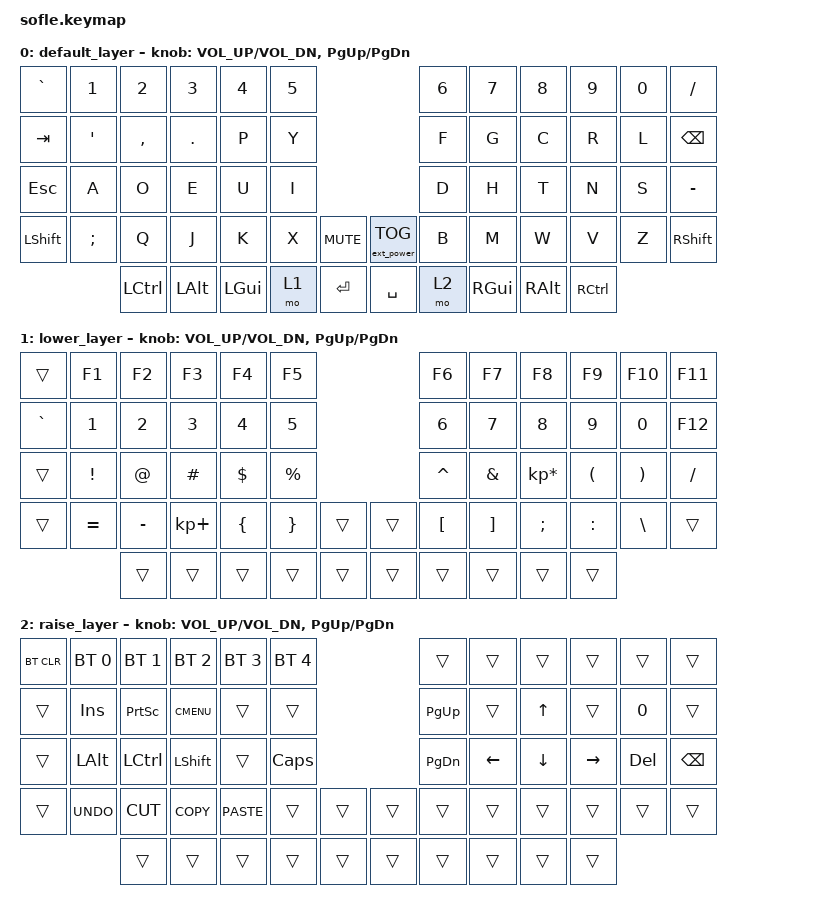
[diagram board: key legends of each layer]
/*
 * Copyright (c) 2020 The ZMK Contributors
 *
 * SPDX-License-Identifier: MIT
 */

#include <behaviors.dtsi>
#include <dt-bindings/zmk/bt.h>
#include <dt-bindings/zmk/ext_power.h>
#include <dt-bindings/zmk/keys.h>

/ {
    keymap {
        compatible = "zmk,keymap";

        default_layer {
            // ------------------------------------------------------------------------------------------------------------
            // |  `    |  1  |  2  |  3   |  4   |  5   |                         |  6   |  7    |  8    |  9   |   0   |       |
            // |  ESC  |  Q  |  W  |  E   |  R   |  T   |                         |  Y   |  U    |  I    |  O   |   P   | BKSPC |
            // |  TAB  |  A  |  S  |  D   |  F   |  G   |                         |  H   |  J    |  K    |  L   |   ;   |   '   |
            // | SHIFT |  Z  |  X  |  C   |  V   |  B   |  MUTE  |        | ExtPw |  N   |  M    |  ,    |  .   |   /   | SHIFT |
            //               | GUI | ALT  | CTRL | LOWER|  ENTER |        | SPACE | RAISE| CTRL  | ALT   | GUI  |

            bindings = <
&kp GRAVE  &kp N1         &kp N2     &kp N3      &kp N4    &kp N5                                   &kp N6  &kp N7    &kp N8    &kp N9     &kp N0  &kp SLASH
&kp TAB    &kp SQT        &kp COMMA  &kp PERIOD  &kp P     &kp Y                                    &kp F   &kp G     &kp C     &kp R      &kp L   &kp BSPC
&kp ESC    &kp A          &kp O      &kp E       &kp U     &kp I                                    &kp D   &kp H     &kp T     &kp N      &kp S   &kp MINUS
&kp LSHFT  &kp SEMICOLON  &kp Q      &kp J       &kp K     &kp X   &kp C_MUTE    &ext_power EP_TOG  &kp B   &kp M     &kp W     &kp V      &kp Z   &kp RSHFT
                          &kp LCTRL  &kp LALT    &kp LGUI  &mo 1   &kp RET       &kp SPACE          &mo 2   &kp RGUI  &kp RALT  &kp RCTRL
            >;

            sensor-bindings = <&inc_dec_kp C_VOL_UP C_VOL_DN &inc_dec_kp PG_UP PG_DN>;
        };

        lower_layer {
            // TODO: Some binds are waiting for shifted keycode support.
            // ------------------------------------------------------------------------------------------------------------
            // |       |  F1 |  F2 |  F3  |  F4  |  F5  |                   |  F6  |  F7   |  F8   |  F9  |  F10  |  F11  |
            // | `     |   1 |   2 |   3  |   4  |   5  |                   |   6  |   7   |   8   |   9  |    0  |  F12  |
            // |       |  !  |  @  |  #   |  $   |  %   |                   |  ^   |  &    |  *    |  (   |   )   |   |   |
            // |       |  =  |  -  |  +   |  {   |  }   |        |  |       |  [   |  ]    |  ;    |  :   |   \   |       |
            //               |     |      |      |      |        |  |       |      |       |       |      |

            bindings = <
&trans     &kp F1     &kp F2     &kp F3       &kp F4    &kp F5                       &kp F6     &kp F7    &kp F8           &kp F9     &kp F10   &kp F11
&kp GRAVE  &kp N1     &kp N2     &kp N3       &kp N4    &kp N5                       &kp N6     &kp N7    &kp N8           &kp N9     &kp N0    &kp F12
&trans     &kp EXCL   &kp AT     &kp HASH     &kp DLLR  &kp PRCNT                    &kp CARET  &kp AMPS  &kp KP_MULTIPLY  &kp LPAR   &kp RPAR  &kp SLASH
&trans     &kp EQUAL  &kp MINUS  &kp KP_PLUS  &kp LBRC  &kp RBRC   &trans    &trans  &kp LBKT   &kp RBKT  &kp SEMI         &kp COLON  &kp BSLH  &trans
                      &trans     &trans       &trans    &trans     &trans    &trans  &trans     &trans    &trans           &trans
            >;

            sensor-bindings = <&inc_dec_kp C_VOL_UP C_VOL_DN &inc_dec_kp PG_UP PG_DN>;
        };

        raise_layer {
            // ------------------------------------------------------------------------------------------------------------
            // |BTCLR| BT1  | BT2  |  BT3  |  BT4  |  BT5 |                |      |      |       |      |       |       |
            // |     | INS  | PSCR | GUI   |       |      |                | PGUP |      |   ^   |      |       |       |
            // |     | ALT  | CTRL | SHIFT |       | CAPS |                | PGDN |   <- |   v   |  ->  |  DEL  | BKSPC |
            // |     | UNDO | CUT  | COPY  | PASTE |      |      |  |      |      |      |       |      |       |       |
            //              |      |       |       |      |      |  |      |      |      |       |      |

            bindings = <
&bt BT_CLR  &bt BT_SEL 0  &bt BT_SEL 1  &bt BT_SEL 2  &bt BT_SEL 3  &bt BT_SEL 4                    &trans     &trans    &trans    &trans     &trans   &trans
&trans      &kp INS       &kp PSCRN     &kp K_CMENU   &trans        &trans                          &kp PG_UP  &trans    &kp UP    &trans     &kp N0   &trans
&trans      &kp LALT      &kp LCTRL     &kp LSHFT     &trans        &kp CLCK                        &kp PG_DN  &kp LEFT  &kp DOWN  &kp RIGHT  &kp DEL  &kp BSPC
&trans      &kp K_UNDO    &kp K_CUT     &kp K_COPY    &kp K_PASTE   &trans        &trans    &trans  &trans     &trans    &trans    &trans     &trans   &trans
                          &trans        &trans        &trans        &trans        &trans    &trans  &trans     &trans    &trans    &trans
            >;

            sensor-bindings = <&inc_dec_kp C_VOL_UP C_VOL_DN &inc_dec_kp PG_UP PG_DN>;
        };
    };
};
